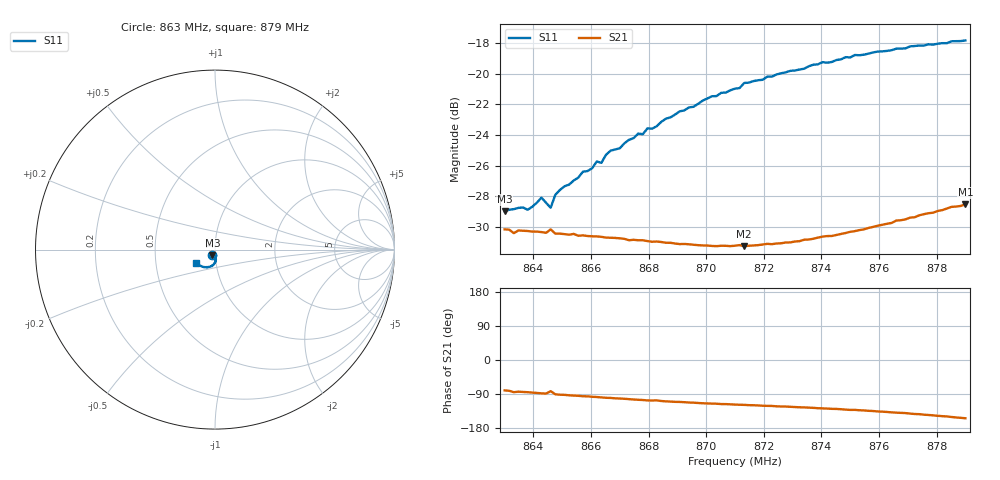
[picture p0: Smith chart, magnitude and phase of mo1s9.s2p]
# HZ S RI R 50
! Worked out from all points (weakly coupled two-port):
!   101 points, 863 MHz to 879 MHz, reference 50 ohm
!   highest |S21| = -28.51 dB at 879 MHz (marker M1); lowest = -31.2 dB at 871.32 MHz (marker M2)
!   lowest |S11| = -29.0 dB at 863 MHz (marker M3), VSWR 1.07, Z = 48.5 - j3.18 ohm
!   |S11| at or under -10 dB: start of sweep to end of sweep
!   S12 and S22 are empty: the file has one direction only
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8.63e8  -0.014 -0.0327  0.00527 -0.0306  0 0  0 0
8.6332e8  -0.0111 -0.0344  0.00264 -0.0301  0 0  0 0
8.638e8  -0.00786 -0.0352  0.00269 -0.0306  0 0  0 0
8.6428e8  -0.00409 -0.0392  0.00107 -0.0304  0 0  0 0
8.646e8  0.00699 -0.0359  0.00422 -0.0308  0 0  0 0
8.6476e8  -0.00336 -0.0401  -0.000271 -0.0301  0 0  0 0
8.6572e8  0.00147 -0.0479  -0.00296 -0.0296  0 0  0 0
8.6604e8  0.00153 -0.0492  -0.00364 -0.0293  0 0  0 0
8.662e8  0.00151 -0.0517  -0.00395 -0.0292  0 0  0 0
8.6636e8  0.00351 -0.0511  -0.00446 -0.0291  0 0  0 0
8.6668e8  0.00156 -0.0561  -0.00511 -0.0287  0 0  0 0
8.67e8  0.0052 -0.0569  -0.00588 -0.0285  0 0  0 0
8.6764e8  0.00391 -0.0637  -0.00742 -0.0277  0 0  0 0
8.678e8  0.00302 -0.0634  -0.0077 -0.0276  0 0  0 0
8.6796e8  0.00104 -0.0663  -0.00816 -0.0273  0 0  0 0
8.6844e8  0.000779 -0.0696  -0.00885 -0.0269  0 0  0 0
8.702e8  -0.00857 -0.0839  -0.0116 -0.0249  0 0  0 0
8.71e8  -0.0147 -0.0881  -0.0128 -0.0244  0 0  0 0
8.7132e8  -0.0169 -0.0917  -0.0131 -0.0241  0 0  0 0
8.7372e8  -0.0411 -0.0987  -0.0172 -0.0233  0 0  0 0
8.7644e8  -0.0753 -0.0924  -0.0243 -0.0217  0 0  0 0
8.79e8  -0.1048 -0.0738  -0.0336 -0.0166  0 0  0 0
